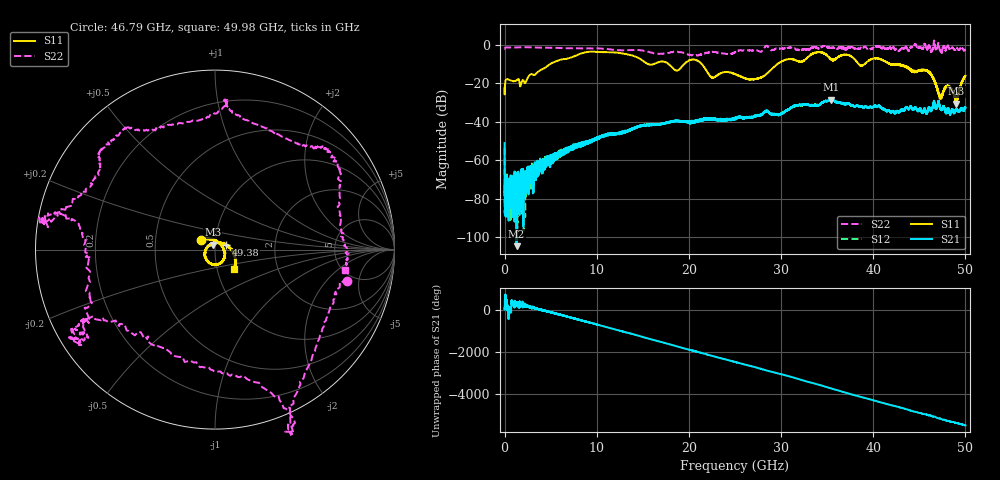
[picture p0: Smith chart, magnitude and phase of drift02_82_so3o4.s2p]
!Created with skrf (http://scikit-rf.org).
# Hz S RI R 50.0
!freq ReS11 ImS11 ReS21 ImS21 ReS12 ImS12 ReS22 ImS22
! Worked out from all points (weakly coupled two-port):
!   10001 points, 300 kHz to 50 GHz, reference 50 ohm
!   highest |S21| = -28.49 dB at 35.38 GHz (marker M1); lowest = -104.5 dB at 1.3 GHz (marker M2)
!   lowest |S11| = -30.5 dB at 49.03 GHz (marker M3), VSWR 1.06, Z = 48.7 + j2.62 ohm
!   |S11| at or under -10 dB: start of sweep to 4.956 GHz; 21.38 GHz to 29.63 GHz (8.243 GHz wide, 32.3 % of centre); 41.89 GHz to end of sweep (the widest 3 of 10)
!   |S22| runs from -5.7 to 2.2 dB; largest |S21 - S12| = 0.0032
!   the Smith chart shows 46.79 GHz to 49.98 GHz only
!   S11 on the Smith chart (normalised r, x): 46.79 GHz: 0.85, +0.09; 49.38 GHz: 1.13, +0.06; 49.98 GHz: 1.21, -0.26
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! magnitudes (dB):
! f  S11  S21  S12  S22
! 300 kHz  -22.3  -51.0  -53.5  -2.0
! 255.3 MHz  -17.9  -74.2  -81.1  -1.4
! 1.3 GHz  -18.5  -104.5  -72.5  -1.4
! 8.335 GHz  -4.5  -51.8  -51.5  -1.9
! 16.67 GHz  -9.1  -41.4  -41.4  -4.7
! 18.7 GHz  -13.5  -39.6  -39.3  -3.7
! 20.6 GHz  -7.7  -39.9  -39.9  -5.7
! 22.52 GHz  -17.1  -38.6  -38.6  -3.7
! 25 GHz  -15.3  -38.4  -38.2  -3.9
! 27.5 GHz  -17.5  -36.7  -36.6  -3.2
! 30.22 GHz  -8.3  -35.4  -35.2  -2.1
! 33.34 GHz  -4.9  -31.2  -31.2  -1.6
! 35.38 GHz  -7.4  -28.5  -28.7  -1.4
! 41.67 GHz  -9.6  -33.9  -34.1  -1.9
! 45.79 GHz  -13.7  -35.5  -35.7  -2.3
! 46.79 GHz  -20.5  -33.0  -33.1  -2.4
! 47.27 GHz  -26.9  -33.3  -32.6  -3.2
! 48.11 GHz  -21.5  -33.3  -33.0  -0.5
! 49.03 GHz  -30.5  -34.1  -33.7  -1.8
! 49.38 GHz  -23.3  -34.0  -34.2  -2.6
! 49.98 GHz  -16.4  -32.5  -32.9  -2.7
! 50 GHz  -16.2  -32.7  -32.8  -2.7
